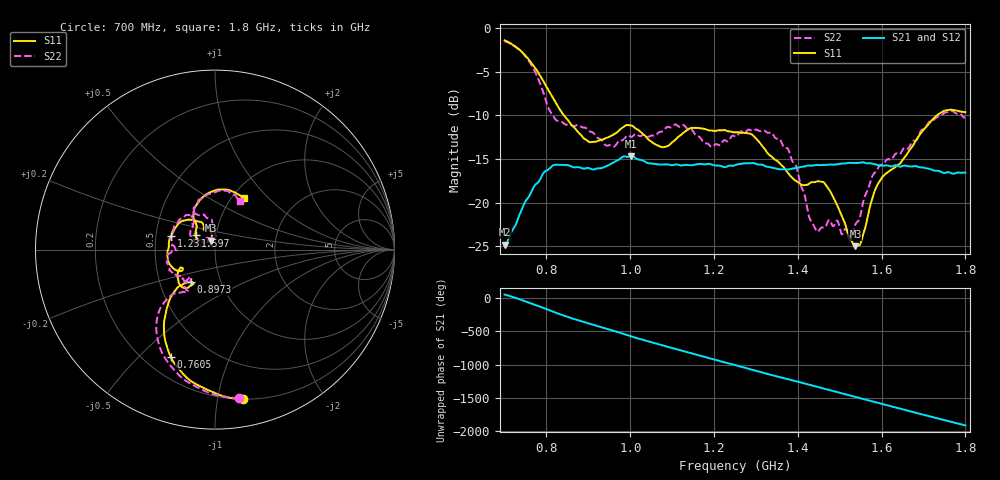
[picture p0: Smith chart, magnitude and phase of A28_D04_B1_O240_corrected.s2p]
! Created with skrf 1.9.0 (http://scikit-rf.org).
# Hz S RI R 50.0
!freq ReS11 ImS11 ReS21 ImS21 ReS12 ImS12 ReS22 ImS22
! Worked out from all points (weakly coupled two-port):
!   1601 points, 700 MHz to 1.8 GHz, reference 50 ohm
!   highest |S21| = -14.68 dB at 1.002 GHz (marker M1); lowest = -24.8 dB at 700 MHz (marker M2)
!   lowest |S11| = -25.0 dB at 1.537 GHz (marker M3), VSWR 1.12, Z = 47.3 + j4.79 ohm
!   |S11| at or under -10 dB: 841.4 MHz to 1.732 GHz (890.9 MHz wide, 69.2 % of centre)
!   |S22| runs from -24.3 to -1.5 dB; largest |S21 - S12| = 0.0032
!   S11 on the Smith chart (normalised r, x): 700 MHz: 0.20, -1.19; 760.5 MHz: 0.31, -0.62; 897.3 MHz: 0.72, -0.28; 1.233 GHz: 0.60, +0.10; 1.597 GHz: 0.80, +0.13; 1.8 GHz: 1.14, +0.73
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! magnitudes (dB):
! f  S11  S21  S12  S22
! 700 MHz  -1.4  -24.8  -24.6  -1.5
! 760.5 MHz  -3.8  -19.1  -19.0  -3.9
! 818.9 MHz  -8.3  -15.7  -15.8  -10.3
! 883.6 MHz  -12.3  -16.1  -15.9  -11.3
! 897.3 MHz  -12.9  -16.0  -16.1  -11.6
! 944.8 MHz  -12.6  -15.8  -15.8  -13.5
! 1.002 GHz  -11.2  -14.7  -14.8  -12.5
! 1.067 GHz  -13.5  -15.6  -15.6  -12.0
! 1.145 GHz  -11.4  -15.7  -15.7  -11.6
! 1.193 GHz  -11.7  -15.6  -15.6  -13.6
! 1.233 GHz  -11.8  -15.8  -15.8  -13.0
! 1.25 GHz  -12.0  -15.7  -15.7  -12.4
! 1.357 GHz  -15.5  -16.2  -16.1  -12.7
! 1.396 GHz  -17.5  -16.0  -16.0  -15.8
! 1.434 GHz  -17.7  -15.8  -15.7  -22.3
! 1.47 GHz  -18.2  -15.7  -15.7  -22.3
! 1.525 GHz  -24.1  -15.4  -15.4  -24.3
! 1.537 GHz  -25.0  -15.5  -15.5  -22.5
! 1.597 GHz  -17.4  -15.7  -15.7  -15.7
! 1.617 GHz  -16.4  -15.8  -15.7  -15.0
! 1.733 GHz  -10.0  -16.4  -16.4  -10.2
! 1.8 GHz  -9.6  -16.6  -16.6  -10.3
